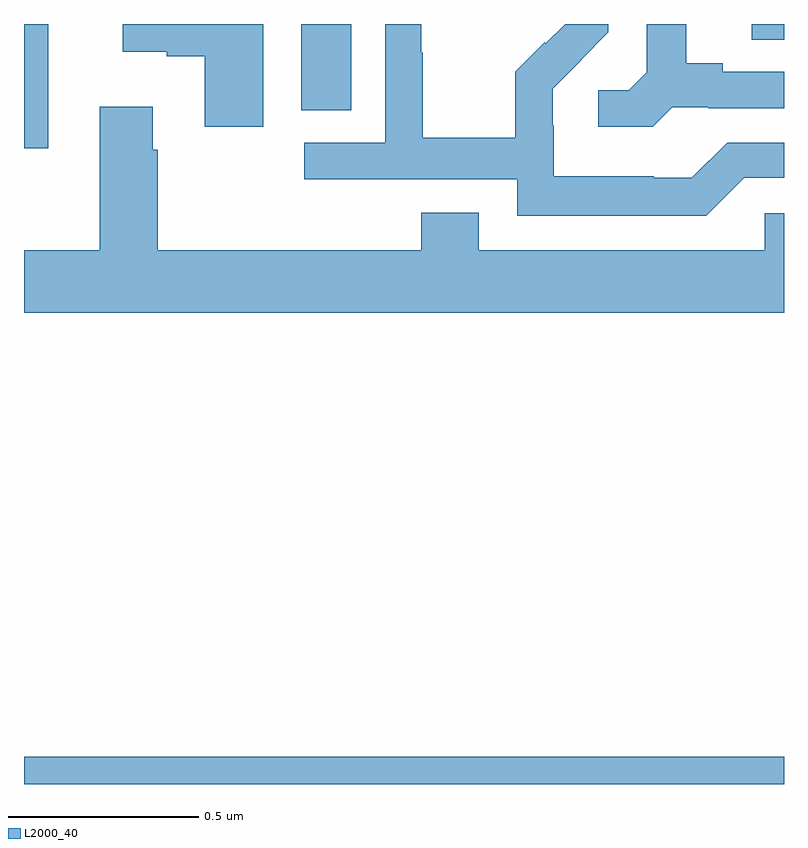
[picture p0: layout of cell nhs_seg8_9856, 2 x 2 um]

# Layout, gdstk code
import gdstk
lib = gdstk.Library(unit=1e-6, precision=1e-09)
def R(c, l, rs):  # rectangles x0, y0, x1, y1
    for r in rs: c.add(gdstk.rectangle(r[:2], r[2:], *l))
def P(c, l, *ps):  # polygons
    for p in ps: c.add(gdstk.Polygon(p, *l))
L2000_40 = (2000, 40)

nhs_seg8_9856 = lib.new_cell('nhs_seg8_9856')
R(nhs_seg8_9856, L2000_40, [(241,1141.9,243,1141.972), (241,1143.573,241.064,1143.9), (241.73,1143.673,241.861,1143.9), (242.915,1143.859,243,1143.9)])
P(nhs_seg8_9856, L2000_40, [(242.706,1143.681),(242.8,1143.681),(242.8,1143.678),(243,1143.678),(243,1143.774),(242.839,1143.774),(242.839,1143.797),(242.743,1143.797),(242.743,1143.9),(242.639,1143.9),(242.639,1143.773),(242.592,1143.726),(242.511,1143.726),(242.511,1143.629),(242.654,1143.629)],
  [(242.895,1143.495),(243,1143.495),(243,1143.588),(242.85,1143.588),(242.757,1143.495),(242.657,1143.495),(242.657,1143.499),(242.394,1143.499),(242.394,1143.633),(242.392,1143.633),(242.392,1143.73),(242.466,1143.804),(242.465,1143.805),(242.538,1143.878),(242.538,1143.9),(242.424,1143.9),(242.373,1143.849),(242.37,1143.852),(242.293,1143.775),(242.293,1143.601),(242.049,1143.601),(242.049,1143.824),(242.046,1143.824),(242.046,1143.9),(241.95,1143.9),(241.95,1143.588),(241.737,1143.588),(241.737,1143.492),(242.298,1143.492),(242.298,1143.395),(242.795,1143.395)],
  [(241.63,1143.9),(241.26,1143.9),(241.26,1143.827),(241.376,1143.827),(241.376,1143.815),(241.475,1143.815),(241.475,1143.63),(241.63,1143.63)],
  [(243,1143.402),(242.949,1143.402),(242.949,1143.304),(242.197,1143.304),(242.197,1143.403),(242.045,1143.403),(242.045,1143.304),(241.352,1143.304),(241.352,1143.569),(241.339,1143.569),(241.339,1143.682),(241.199,1143.682),(241.199,1143.304),(241,1143.304),(241,1143.14),(243,1143.14)])

lib.write_gds('nhs_seg8_9856.gds')
